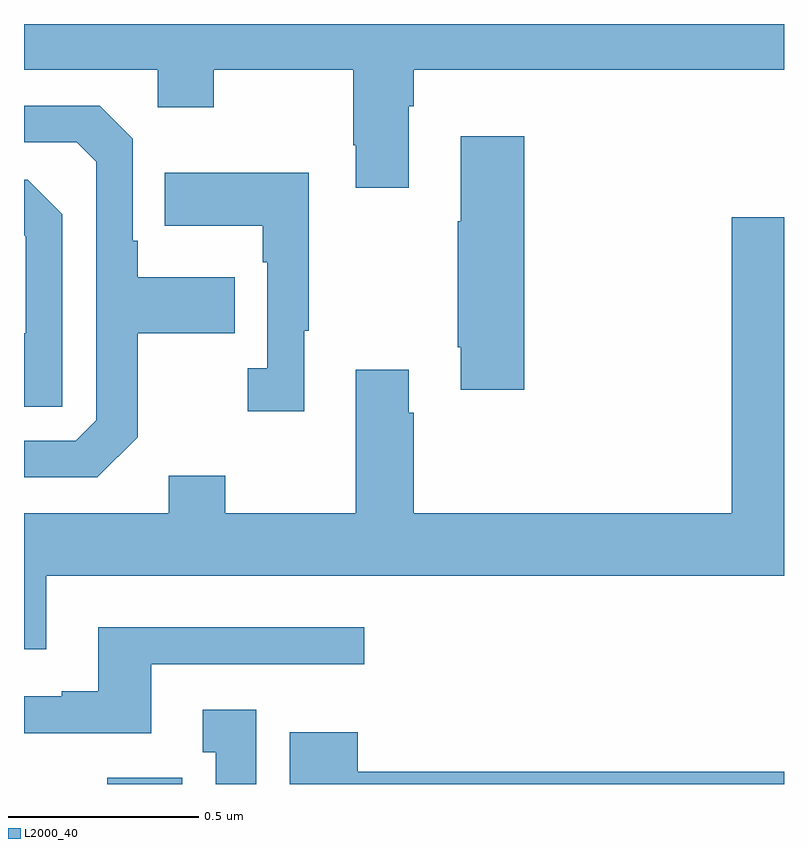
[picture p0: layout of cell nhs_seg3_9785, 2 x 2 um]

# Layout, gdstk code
import gdstk
lib = gdstk.Library(unit=1e-6, precision=1e-09)
def R(c, l, rs):  # rectangles x0, y0, x1, y1
    for r in rs: c.add(gdstk.rectangle(r[:2], r[2:], *l))
def P(c, l, *ps):  # polygons
    for p in ps: c.add(gdstk.Polygon(p, *l))
L2000_40 = (2000, 40)

nhs_seg3_9785 = lib.new_cell('nhs_seg3_9785')
R(nhs_seg3_9785, L2000_40, [(233.219,668.4,233.416,668.416)])
P(nhs_seg3_9785, L2000_40, [(234.013,670.184),(234.026,670.184),(234.026,670.28),(235,670.28),(235,670.4),(233,670.4),(233,670.28),(233.352,670.28),(233.352,670.181),(233.499,670.181),(233.499,670.28),(233.866,670.28),(233.866,670.081),(233.873,670.081),(233.873,669.969),(234.013,669.969)],
  [(233.299,669.313),(233.299,669.586),(233.555,669.586),(233.555,669.733),(233.299,669.733),(233.299,669.829),(233.286,669.829),(233.286,670.098),(233.199,670.185),(233,670.185),(233,670.089),(233.139,670.089),(233.19,670.038),(233.19,669.357),(233.136,669.303),(233,669.303),(233,669.207),(233.193,669.207)],
  [(234.317,670.105),(234.149,670.105),(234.149,669.881),(234.142,669.881),(234.142,669.55),(234.149,669.55),(234.149,669.438),(234.317,669.438)],
  [(233.737,669.593),(233.749,669.593),(233.749,670.009),(233.371,670.009),(233.371,669.869),(233.628,669.869),(233.628,669.773),(233.64,669.773),(233.64,669.494),(233.589,669.494),(233.589,669.381),(233.737,669.381)],
  [(233.1,669.9),(233.01,669.99),(233,669.99),(233,669.844),(233.004,669.84),(233.004,669.586),(233,669.586),(233,669.393),(233.1,669.393)],
  [(233.059,668.948),(235,668.948),(235,669.892),(234.863,669.892),(234.863,669.112),(234.026,669.112),(234.026,669.377),(234.013,669.377),(234.013,669.49),(233.873,669.49),(233.873,669.112),(233.529,669.112),(233.529,669.211),(233.381,669.211),(233.381,669.112),(233,669.112),(233,668.754),(233.059,668.754)],
  [(233.335,668.715),(233.896,668.715),(233.896,668.812),(233.195,668.812),(233.195,668.644),(233.099,668.644),(233.099,668.631),(233,668.631),(233,668.534),(233.335,668.534)],
  [(233.611,668.596),(233.471,668.596),(233.471,668.483),(233.504,668.483),(233.504,668.4),(233.611,668.4)],
  [(235,668.432),(233.878,668.432),(233.878,668.536),(233.699,668.536),(233.699,668.4),(235,668.4)])

lib.write_gds('nhs_seg3_9785.gds')
